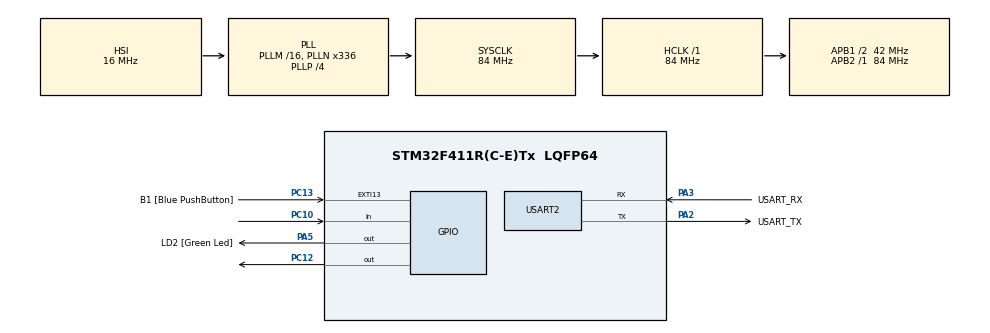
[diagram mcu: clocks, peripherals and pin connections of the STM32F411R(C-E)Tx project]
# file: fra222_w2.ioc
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Mcu.Family=STM32F4
Mcu.Name=STM32F411R(C-E)Tx
Mcu.Package=LQFP64
NVIC.PriorityGroup=NVIC_PRIORITYGROUP_0
PA13.GPIO_Label=TMS
PA13.Mode=Serial_Wire
PA13.Signal=SYS_JTMS-SWDIO
PA14.GPIO_Label=TCK
PA14.Mode=Serial_Wire
PA14.Signal=SYS_JTCK-SWCLK
PA2.GPIO_Label=USART_TX
PA2.Mode=Asynchronous
PA2.Signal=USART2_TX
PA3.GPIO_Label=USART_RX
PA3.Mode=Asynchronous
PA3.Signal=USART2_RX
PA5.GPIO_Label=LD2 [Green Led]
PA5.Signal=GPIO_Output
PB3.GPIO_Label=SWO
PB3.Signal=SYS_JTDO-SWO
PC10.Signal=GPIO_Input
PC12.Signal=GPIO_Output
PC13-ANTI_TAMP.GPIO_Label=B1 [Blue PushButton]
PC13-ANTI_TAMP.GPIO_ModeDefaultEXTI=GPIO_MODE_IT_FALLING
PC13-ANTI_TAMP.Signal=GPXTI13
PC14-OSC32_IN.Mode=LSE-External-Oscillator
PC14-OSC32_IN.Signal=RCC_OSC32_IN
PC15-OSC32_OUT.Mode=LSE-External-Oscillator
PC15-OSC32_OUT.Signal=RCC_OSC32_OUT
PH0\ -\ OSC_IN.Mode=HSE-External-Clock-Source
PH0\ -\ OSC_IN.Signal=RCC_OSC_IN
PH1\ -\ OSC_OUT.Mode=HSE-External-Clock-Source
PH1\ -\ OSC_OUT.Signal=RCC_OSC_OUT
ProjectManager.HeapSize=0x200
ProjectManager.StackSize=0x400
ProjectManager.TargetToolchain=STM32CubeIDE
RCC.48MHZClocksFreq_Value=84000000
RCC.AHBFreq_Value=84000000
RCC.APB1CLKDivider=RCC_HCLK_DIV2
RCC.APB1Freq_Value=42000000
RCC.APB1TimFreq_Value=84000000
RCC.APB2Freq_Value=84000000
RCC.APB2TimFreq_Value=84000000
RCC.CortexFreq_Value=84000000
RCC.FLatency-AdvancedSettings=FLASH_LATENCY_2
RCC.HCLKFreq_Value=84000000
RCC.HSE_VALUE=8000000
RCC.HSI_VALUE=16000000
RCC.PLLN=336
RCC.PLLP=RCC_PLLP_DIV4
RCC.SYSCLKFreq_VALUE=84000000
RCC.SYSCLKSource=RCC_SYSCLKSOURCE_PLLCLK
RCC.VCOOutputFreq_Value=336000000
USART2.VirtualMode=VM_ASYNC
board=NUCLEO-F411RE

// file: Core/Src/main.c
/* USER CODE BEGIN Header */
/**
  ******************************************************************************
  * @file           : main.c
  * @brief          : Main program body
  ******************************************************************************
  * @attention
  *
  * Copyright (c) 2023 STMicroelectronics.
  * All rights reserved.
  *
  * This software is licensed under terms that can be found in the LICENSE file
  * in the root directory of this software component.
  * If no LICENSE file comes with this software, it is provided AS-IS.
  *
  ******************************************************************************
  */
/* USER CODE END Header */
#include "main.h"

UART_HandleTypeDef huart2;

/* USER CODE BEGIN PV */
//veriant to save switch state
	typedef struct{
GPIO_PinState current;
GPIO_PinState last;
	}GpioStateSave;

GpioStateSave B1 = {1,1};

/* USER CODE END PV */

void SystemClock_Config(void);
static void MX_GPIO_Init(void);
static void MX_USART2_UART_Init(void);

int main(void)
{

  /* MCU Configuration--------------------------------------------------------*/

  /* Reset of all peripherals, Initializes the Flash interface and the Systick. */
  HAL_Init();

  /* Configure the system clock */
  SystemClock_Config();

  /* Initialize all configured peripherals */
  MX_GPIO_Init();
  MX_USART2_UART_Init();

  /* Infinite loop */
  while (1)
  {

    /* USER CODE BEGIN 3 */
//	  //read pc13 and save name as b1
//	  GPIO_PinState B1 = HAL_GPIO_ReadPin(GPIOC, GPIO_PIN_13);
//
	  //Write B1 to GPIO PA5 (LD2)
	  //HAL_GPIO_WritePin(GPIOA, GPIO_PIN_5, B1);
	  B1.current = HAL_GPIO_ReadPin(GPIOC, GPIO_PIN_10);
	  static uint8_t clk = 0;
	  static uint32_t timestamp = 0;

	  if (B1.last == 1 && B1.current == 0){
		  clk = clk + 1;
	 	  }
		  if(timestamp <= HAL_GetTick()&& clk%2 == 0){
		  	 		  //set next time to turn led on
		  	 		 timestamp = HAL_GetTick() + 250 ; //ms
		  	 		 // led on
		  	 		 HAL_GPIO_TogglePin(GPIOC, GPIO_PIN_12);}
		  if(timestamp <= HAL_GetTick()&& clk%2 == 1){
		  		 		  //set next time to turn led on
		  		 		 timestamp = HAL_GetTick() + 500 ; //ms
		  		 		 // led on
		  		 		 HAL_GPIO_TogglePin(GPIOC, GPIO_PIN_12);
		  		 	  }
	  B1.last = B1.current;
	  //blink for 1 hz 500 ms-500 ms
	  //create timestamp
//	  static uint32_t timestamp = 0;
	  //check current time if its > stime tamp
//	  if(timestamp <= HAL_GetTick()){
//		  //set next time to turn led on
//		 timestamp = HAL_GetTick() + 500 ; //ms
//		 // led on
//		 HAL_GPIO_TogglePin(GPIOA, GPIO_PIN_5);
//
//	  }
	  //out side switch cinnection

  }

  /* USER CODE END 3 */
}

void SystemClock_Config(void)
{
  RCC_OscInitTypeDef RCC_OscInitStruct = {0};
  RCC_ClkInitTypeDef RCC_ClkInitStruct = {0};

  /** Configure the main internal regulator output voltage
  */
  __HAL_RCC_PWR_CLK_ENABLE();
  __HAL_PWR_VOLTAGESCALING_CONFIG(PWR_REGULATOR_VOLTAGE_SCALE1);

  /** Initializes the RCC Oscillators according to the specified parameters
  * in the RCC_OscInitTypeDef structure.
  */
  RCC_OscInitStruct.OscillatorType = RCC_OSCILLATORTYPE_HSI;
  RCC_OscInitStruct.HSIState = RCC_HSI_ON;
  RCC_OscInitStruct.HSICalibrationValue = RCC_HSICALIBRATION_DEFAULT;
  RCC_OscInitStruct.PLL.PLLState = RCC_PLL_ON;
  RCC_OscInitStruct.PLL.PLLSource = RCC_PLLSOURCE_HSI;
  RCC_OscInitStruct.PLL.PLLM = 16;
  RCC_OscInitStruct.PLL.PLLN = 336;
  RCC_OscInitStruct.PLL.PLLP = RCC_PLLP_DIV4;
  RCC_OscInitStruct.PLL.PLLQ = 4;
  if (HAL_RCC_OscConfig(&RCC_OscInitStruct) != HAL_OK)
  {
    Error_Handler();
  }

  /** Initializes the CPU, AHB and APB buses clocks
  */
  RCC_ClkInitStruct.ClockType = RCC_CLOCKTYPE_HCLK|RCC_CLOCKTYPE_SYSCLK
                              |RCC_CLOCKTYPE_PCLK1|RCC_CLOCKTYPE_PCLK2;
  RCC_ClkInitStruct.SYSCLKSource = RCC_SYSCLKSOURCE_PLLCLK;
  RCC_ClkInitStruct.AHBCLKDivider = RCC_SYSCLK_DIV1;
  RCC_ClkInitStruct.APB1CLKDivider = RCC_HCLK_DIV2;
  RCC_ClkInitStruct.APB2CLKDivider = RCC_HCLK_DIV1;

  if (HAL_RCC_ClockConfig(&RCC_ClkInitStruct, FLASH_LATENCY_2) != HAL_OK)
  {
    Error_Handler();
  }
}

static void MX_USART2_UART_Init(void)
{

  huart2.Instance = USART2;
  huart2.Init.BaudRate = 115200;
  huart2.Init.WordLength = UART_WORDLENGTH_8B;
  huart2.Init.StopBits = UART_STOPBITS_1;
  huart2.Init.Parity = UART_PARITY_NONE;
  huart2.Init.Mode = UART_MODE_TX_RX;
  huart2.Init.HwFlowCtl = UART_HWCONTROL_NONE;
  huart2.Init.OverSampling = UART_OVERSAMPLING_16;
  if (HAL_UART_Init(&huart2) != HAL_OK)
  {
    Error_Handler();
  }

}

static void MX_GPIO_Init(void)
{
  GPIO_InitTypeDef GPIO_InitStruct = {0};

  /* GPIO Ports Clock Enable */
  __HAL_RCC_GPIOC_CLK_ENABLE();
  __HAL_RCC_GPIOH_CLK_ENABLE();
  __HAL_RCC_GPIOA_CLK_ENABLE();
  __HAL_RCC_GPIOB_CLK_ENABLE();

  /*Configure GPIO pin Output Level */
  HAL_GPIO_WritePin(LD2_GPIO_Port, LD2_Pin, GPIO_PIN_RESET);

  /*Configure GPIO pin Output Level */
  HAL_GPIO_WritePin(GPIOC, GPIO_PIN_12, GPIO_PIN_RESET);

  /*Configure GPIO pin : B1_Pin */
  GPIO_InitStruct.Pin = B1_Pin;
  GPIO_InitStruct.Mode = GPIO_MODE_IT_FALLING;
  GPIO_InitStruct.Pull = GPIO_NOPULL;
  HAL_GPIO_Init(B1_GPIO_Port, &GPIO_InitStruct);

  /*Configure GPIO pin : LD2_Pin */
  GPIO_InitStruct.Pin = LD2_Pin;
  GPIO_InitStruct.Mode = GPIO_MODE_OUTPUT_PP;
  GPIO_InitStruct.Pull = GPIO_NOPULL;
  GPIO_InitStruct.Speed = GPIO_SPEED_FREQ_LOW;
  HAL_GPIO_Init(LD2_GPIO_Port, &GPIO_InitStruct);

  /*Configure GPIO pin : PC10 */
  GPIO_InitStruct.Pin = GPIO_PIN_10;
  GPIO_InitStruct.Mode = GPIO_MODE_INPUT;
  GPIO_InitStruct.Pull = GPIO_NOPULL;
  HAL_GPIO_Init(GPIOC, &GPIO_InitStruct);

  /*Configure GPIO pin : PC12 */
  GPIO_InitStruct.Pin = GPIO_PIN_12;
  GPIO_InitStruct.Mode = GPIO_MODE_OUTPUT_PP;
  GPIO_InitStruct.Pull = GPIO_NOPULL;
  GPIO_InitStruct.Speed = GPIO_SPEED_FREQ_LOW;
  HAL_GPIO_Init(GPIOC, &GPIO_InitStruct);

}

void Error_Handler(void)
{
  __disable_irq();
  while (1)
  {
  }
}
